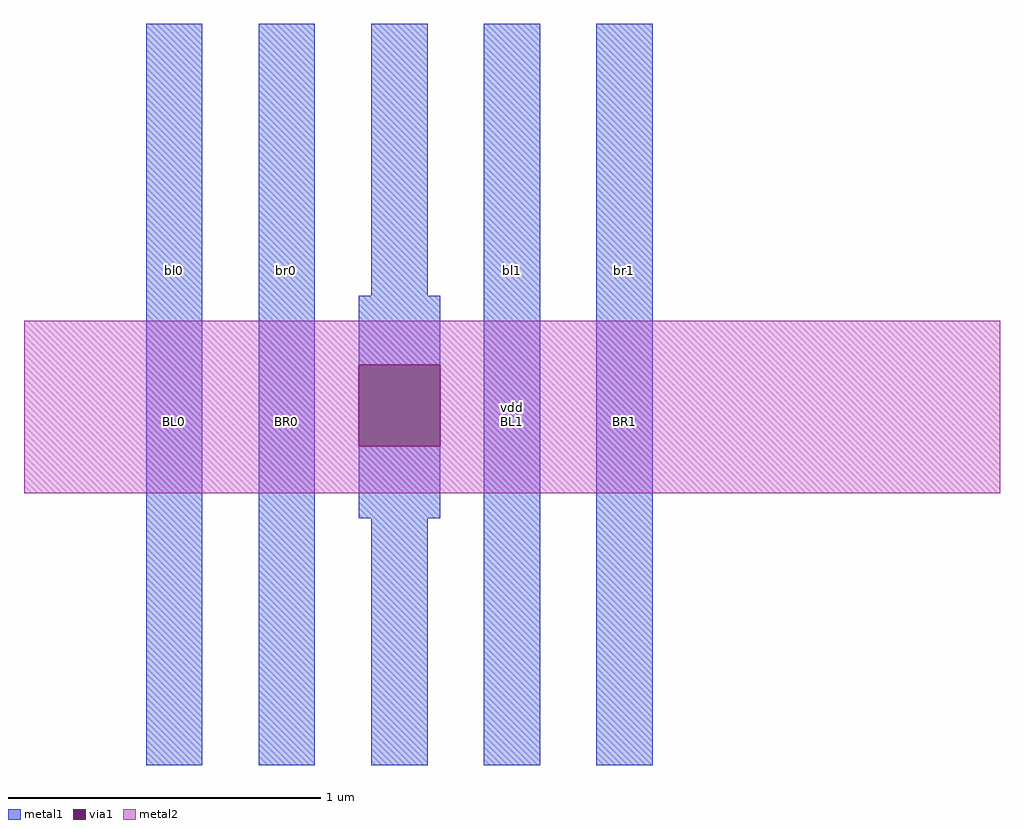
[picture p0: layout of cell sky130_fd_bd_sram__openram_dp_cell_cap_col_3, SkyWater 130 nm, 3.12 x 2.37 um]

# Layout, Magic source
magic
tech sky130A
magscale 1 2
<< metal1 >>
rect 78 0 114 474
rect 150 0 186 474
rect 222 300 258 474
rect 214 256 266 300
rect 214 158 266 204
rect 222 0 258 158
rect 294 0 330 474
rect 366 0 402 474
<< via1 >>
rect 214 204 266 256
<< metal2 >>
rect 0 256 624 284
rect 0 204 214 256
rect 266 204 624 256
rect 0 174 624 204
<< labels >>
rlabel metal2 s 0 174 624 284 4 vdd
port 1 nsew
rlabel metal1 s 78 158 114 474 4 bl0
port 2 nsew
rlabel metal1 s 150 158 186 474 4 br0
port 3 nsew
rlabel metal1 s 294 158 330 474 4 bl1
port 4 nsew
rlabel metal1 s 366 158 402 474 4 br1
port 5 nsew
rlabel metal2 s 311 214 342 248 4 VDD
port 6 nsew
rlabel metal1 s 78 196 114 244 4 BL0
port 7 nsew
rlabel metal1 s 294 196 330 244 4 BL1
port 8 nsew
rlabel metal1 s 150 196 186 244 4 BR0
port 9 nsew
rlabel metal1 s 366 196 402 244 4 BR1
port 10 nsew
<< properties >>
string FIXED_BBOX 0 0 624 474
string GDS_FILE $PDKPATH/libs.ref/sky130_sram_macros/gds/sky130_sram_2kbyte_1rw1r_32x512_8.gds
string GDS_END 325232
string GDS_START 322720
<< end >>
